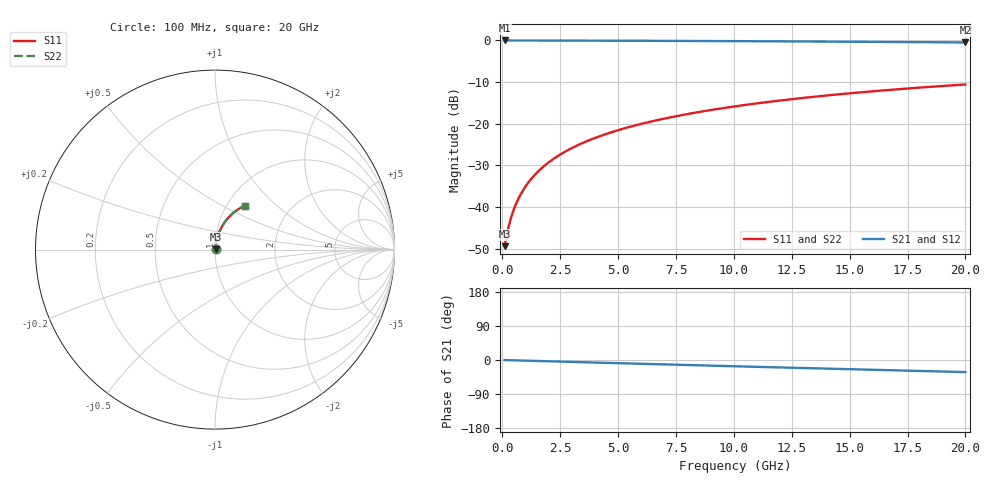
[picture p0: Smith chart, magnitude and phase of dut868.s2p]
! Touchstone file exported from HFSS 2026.1.0
!  File:  C:/ffzhzh/LocalFiles/Ansys_Project_Files/temp_train_BSMRDL_868_1783170835_55132.aedt
!  Generated:  09:15:05 PM Jul  4, 2026
!  Design:  BSMRDL
!  Project:  temp_train_BSMRDL_868_1783170835_55132
! Variables:
!  h_bsmrdl = 4.22um
!  h_ox = 20um
!  h_rdl = 5um
!  h_sub = 80um
!  h_tmrdl = 5um
!  h_tsv = 80um
!  h_via = 3um
!  l_bsmrdl = 467.93um
!  l_sub = 867.93um
!  l_tmrdl = 200um
!  m_sub = 200um
!  pitch = 33.89um
!  r_tsv = 6um
!  s_tmrdl = 10um
!  w_bsmrdl = 14.4um
!  w_sub = 500um
!  w_tmrdl = 12um
!  x_tsv_center1 = 206um
!  x_tsv_center2 = 688.33um
!  x_tsv_center3 = 900.33um
!  x_tsv_center4 = 1382.66um
!  x_tsv_center5 = 1594.66um
!  x_tsv_center6 = 2076.99um
# GHz S MA R 50.000000
! Terminal data exported
! Port[1] = BSM_RDL1_1_T1
! Port[2] = BSM_RDL1_1_T2
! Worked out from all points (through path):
!   200 points, 100 MHz to 20 GHz, reference 50 ohm
!   highest |S21| = -0.02 dB at 100 MHz (marker M1); lowest = -0.5 dB at 20 GHz (marker M2)
!   group delay of S21, straight-line fit = 4.42 ps
!   lowest |S11| = -49.4 dB at 100 MHz (marker M3), VSWR 1.01, Z = 50.3 + j0.185 ohm
!   |S11| at or under -10 dB: start of sweep to end of sweep
!   |S22| runs from -49.4 to -10.6 dB; largest |S21 - S12| = 2e-15
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0.1  0.003386 32.8  0.9972 -0.2  0.9972 -0.2  0.003386 32.8
! Gamma 0 0 0 0
! Port Impedance 50 0 50 0
0.2  0.004678 51.0  0.9971 -0.4  0.9971 -0.4  0.004678 51.0
0.3  0.0062 60.3  0.997 -0.5  0.997 -0.5  0.006199 60.3
0.4  0.007786 65.7  0.9969 -0.7  0.9969 -0.7  0.007785 65.7
0.5  0.009394 69.2  0.9968 -0.9  0.9968 -0.9  0.009393 69.2
0.6  0.01101 71.7  0.9967 -1.0  0.9967 -1.0  0.01101 71.7
0.8  0.01428 74.9  0.9965 -1.4  0.9965 -1.4  0.01428 74.9
1.1  0.01924 77.6  0.9964 -1.9  0.9964 -1.9  0.01924 77.6
1.3  0.02256 78.7  0.9962 -2.2  0.9962 -2.2  0.02256 78.7
1.6  0.02756 79.6  0.996 -2.7  0.996 -2.7  0.02756 79.6
2.1  0.03591 80.2  0.9955 -3.6  0.9955 -3.6  0.03591 80.2
2.7  0.0459 80.2  0.9948 -4.6  0.9948 -4.6  0.0459 80.2
3.5  0.05912 79.6  0.9937 -5.9  0.9937 -5.9  0.05912 79.6
4.2  0.07057 78.8  0.9925 -7.1  0.9925 -7.1  0.07057 78.9
5  0.0835 77.8  0.991 -8.4  0.991 -8.4  0.0835 77.8
5.9  0.09785 76.6  0.9892 -9.9  0.9892 -9.9  0.09785 76.6
6.8  0.112 75.3  0.9871 -11.4  0.9871 -11.4  0.112 75.3
8.3  0.1351 73.0  0.9834 -13.8  0.9834 -13.8  0.1351 73.1
10.1  0.1621 70.4  0.9785 -16.7  0.9785 -16.7  0.1621 70.4
13.4  0.2094 65.5  0.9682 -21.9  0.9682 -21.9  0.2094 65.5
16.7  0.254 60.7  0.9567 -26.9  0.9567 -26.9  0.254 60.7
20  0.2954 55.9  0.9441 -31.9  0.9441 -31.9  0.2954 56.0
